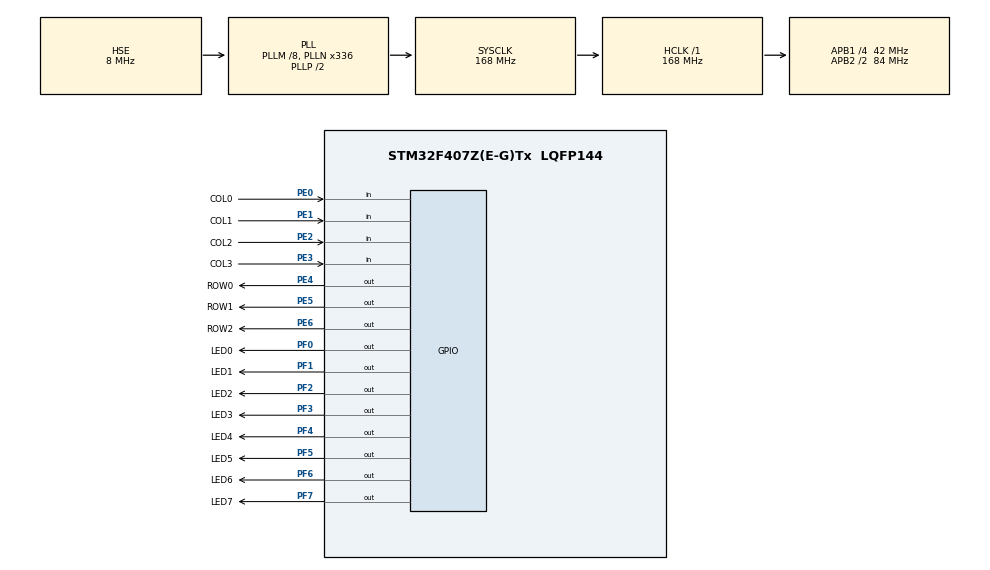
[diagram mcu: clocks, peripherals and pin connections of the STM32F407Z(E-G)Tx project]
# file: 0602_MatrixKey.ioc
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Mcu.Family=STM32F4
Mcu.Name=STM32F407Z(E-G)Tx
Mcu.Package=LQFP144
NVIC.PriorityGroup=NVIC_PRIORITYGROUP_4
PA13.Mode=Serial_Wire
PA13.Signal=SYS_JTMS-SWDIO
PA14.Mode=Serial_Wire
PA14.Signal=SYS_JTCK-SWCLK
PE0.GPIO_Label=COL0
PE0.GPIO_PuPd=GPIO_PULLUP
PE0.Signal=GPIO_Input
PE1.GPIO_Label=COL1
PE1.GPIO_PuPd=GPIO_PULLUP
PE1.Signal=GPIO_Input
PE2.GPIO_Label=COL2
PE2.GPIO_PuPd=GPIO_PULLUP
PE2.Signal=GPIO_Input
PE3.GPIO_Label=COL3
PE3.GPIO_PuPd=GPIO_PULLUP
PE3.Signal=GPIO_Input
PE4.GPIO_Label=ROW0
PE4.PinState=GPIO_PIN_SET
PE4.Signal=GPIO_Output
PE5.GPIO_Label=ROW1
PE5.PinState=GPIO_PIN_SET
PE5.Signal=GPIO_Output
PE6.GPIO_Label=ROW2
PE6.PinState=GPIO_PIN_SET
PE6.Signal=GPIO_Output
PF0.GPIO_Label=LED0
PF0.PinState=GPIO_PIN_SET
PF0.Signal=GPIO_Output
PF1.GPIO_Label=LED1
PF1.PinState=GPIO_PIN_SET
PF1.Signal=GPIO_Output
PF2.GPIO_Label=LED2
PF2.PinState=GPIO_PIN_SET
PF2.Signal=GPIO_Output
PF3.GPIO_Label=LED3
PF3.PinState=GPIO_PIN_SET
PF3.Signal=GPIO_Output
PF4.GPIO_Label=LED4
PF4.PinState=GPIO_PIN_SET
PF4.Signal=GPIO_Output
PF5.GPIO_Label=LED5
PF5.PinState=GPIO_PIN_SET
PF5.Signal=GPIO_Output
PF6.GPIO_Label=LED6
PF6.PinState=GPIO_PIN_SET
PF6.Signal=GPIO_Output
PF7.GPIO_Label=LED7
PF7.PinState=GPIO_PIN_SET
PF7.Signal=GPIO_Output
PH0-OSC_IN.Mode=HSE-External-Oscillator
PH0-OSC_IN.Signal=RCC_OSC_IN
PH1-OSC_OUT.Mode=HSE-External-Oscillator
PH1-OSC_OUT.Signal=RCC_OSC_OUT
ProjectManager.HeapSize=0x200
ProjectManager.StackSize=0x400
ProjectManager.TargetToolchain=STM32CubeIDE
RCC.48MHZClocksFreq_Value=84000000
RCC.AHBFreq_Value=168000000
RCC.APB1CLKDivider=RCC_HCLK_DIV4
RCC.APB1Freq_Value=42000000
RCC.APB1TimFreq_Value=84000000
RCC.APB2CLKDivider=RCC_HCLK_DIV2
RCC.APB2Freq_Value=84000000
RCC.APB2TimFreq_Value=168000000
RCC.CortexFreq_Value=168000000
RCC.HCLKFreq_Value=168000000
RCC.HSE_VALUE=8000000
RCC.HSI_VALUE=16000000
RCC.LSE_VALUE=32768
RCC.PLLM=4
RCC.PLLN=168
RCC.PLLSourceVirtual=RCC_PLLSOURCE_HSE
RCC.SYSCLKFreq_VALUE=168000000
RCC.SYSCLKSource=RCC_SYSCLKSOURCE_PLLCLK
RCC.VCOOutputFreq_Value=336000000
board=custom

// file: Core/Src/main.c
#include "main.h"

/* USER CODE BEGIN PV */
//行扫描：PE4 PE5 PE6 行；PE0 PE1 PE2 PE3 列，上拉输入
uint8_t Key_Scan(void)
{
	uint8_t keyval = 0xFF;
	//第0行 PE4拉低
	HAL_GPIO_WritePin(GPIOE, GPIO_PIN_4, GPIO_PIN_RESET);
	HAL_Delay(5);
	if(HAL_GPIO_ReadPin(GPIOE, GPIO_PIN_0)==0) {keyval = 1;}
	if(HAL_GPIO_ReadPin(GPIOE, GPIO_PIN_1)==0) {keyval = 2;}
	if(HAL_GPIO_ReadPin(GPIOE, GPIO_PIN_2)==0) {keyval = 3;}
	if(HAL_GPIO_ReadPin(GPIOE, GPIO_PIN_3)==0) {keyval = 4;}
	HAL_GPIO_WritePin(GPIOE, GPIO_PIN_4, GPIO_PIN_SET);
	if(keyval != 0xFF) return keyval;

	//第1行 PE5拉低
	HAL_GPIO_WritePin(GPIOE, GPIO_PIN_5, GPIO_PIN_RESET);
	HAL_Delay(5);
	if(HAL_GPIO_ReadPin(GPIOE, GPIO_PIN_0)==0) {keyval = 5;}
	if(HAL_GPIO_ReadPin(GPIOE, GPIO_PIN_1)==0) {keyval = 6;}
	if(HAL_GPIO_ReadPin(GPIOE, GPIO_PIN_2)==0) {keyval = 7;}
	if(HAL_GPIO_ReadPin(GPIOE, GPIO_PIN_3)==0) {keyval = 8;}
	HAL_GPIO_WritePin(GPIOE, GPIO_PIN_5, GPIO_PIN_SET);
	if(keyval != 0xFF) return keyval;

	//第2行 PE6拉低
	HAL_GPIO_WritePin(GPIOE, GPIO_PIN_6, GPIO_PIN_RESET);
	HAL_Delay(5);
	if(HAL_GPIO_ReadPin(GPIOE, GPIO_PIN_0)==0) {keyval = 9;}
	if(HAL_GPIO_ReadPin(GPIOE, GPIO_PIN_1)==0) {keyval = 10;}
	if(HAL_GPIO_ReadPin(GPIOE, GPIO_PIN_2)==0) {keyval = 11;}
	if(HAL_GPIO_ReadPin(GPIOE, GPIO_PIN_3)==0) {keyval = 12;}
	HAL_GPIO_WritePin(GPIOE, GPIO_PIN_6, GPIO_PIN_SET);
	return keyval;
}
/* USER CODE END PV */

void SystemClock_Config(void);
static void MX_GPIO_Init(void);

int main(void)
{
  /* USER CODE BEGIN 1 */
	uint8_t keyval;
	uint8_t bcd_high,bcd_low;
  /* USER CODE END 1 */

  /* MCU Configuration--------------------------------------------------------*/

  /* Reset of all peripherals, Initializes the Flash interface and the Systick. */
  HAL_Init();

  /* Configure the system clock */
  SystemClock_Config();

  /* Initialize all configured peripherals */
  MX_GPIO_Init();

  /* Infinite loop */
  /* USER CODE BEGIN WHILE */
  while (1)
  {
    keyval = Key_Scan();
    if(keyval != 0xFF)
    {
      bcd_low = keyval % 10;
      bcd_high = keyval / 10;
      //取反！！共阳极：bit为1 →输出低电平 点亮LED
      HAL_GPIO_WritePin(GPIOF, GPIO_PIN_0, (bcd_low & (1<<0)) ? GPIO_PIN_RESET : GPIO_PIN_SET);
      HAL_GPIO_WritePin(GPIOF, GPIO_PIN_1, (bcd_low & (1<<1)) ? GPIO_PIN_RESET : GPIO_PIN_SET);
      HAL_GPIO_WritePin(GPIOF, GPIO_PIN_2, (bcd_low & (1<<2)) ? GPIO_PIN_RESET : GPIO_PIN_SET);
      HAL_GPIO_WritePin(GPIOF, GPIO_PIN_3, (bcd_low & (1<<3)) ? GPIO_PIN_RESET : GPIO_PIN_SET);

      HAL_GPIO_WritePin(GPIOF, GPIO_PIN_4, (bcd_high & (1<<0)) ? GPIO_PIN_RESET : GPIO_PIN_SET);
      HAL_GPIO_WritePin(GPIOF, GPIO_PIN_5, (bcd_high & (1<<1)) ? GPIO_PIN_RESET : GPIO_PIN_SET);
      HAL_GPIO_WritePin(GPIOF, GPIO_PIN_6, (bcd_high & (1<<2)) ? GPIO_PIN_RESET : GPIO_PIN_SET);
      HAL_GPIO_WritePin(GPIOF, GPIO_PIN_7, (bcd_high & (1<<3)) ? GPIO_PIN_RESET : GPIO_PIN_SET);
    }
    else
    {
      //无按键，全部熄灭（PF输出高）
      HAL_GPIO_WritePin(GPIOF, GPIO_PIN_0, GPIO_PIN_SET);
      HAL_GPIO_WritePin(GPIOF, GPIO_PIN_1, GPIO_PIN_SET);
      HAL_GPIO_WritePin(GPIOF, GPIO_PIN_2, GPIO_PIN_SET);
      HAL_GPIO_WritePin(GPIOF, GPIO_PIN_3, GPIO_PIN_SET);
      HAL_GPIO_WritePin(GPIOF, GPIO_PIN_4, GPIO_PIN_SET);
      HAL_GPIO_WritePin(GPIOF, GPIO_PIN_5, GPIO_PIN_SET);
      HAL_GPIO_WritePin(GPIOF, GPIO_PIN_6, GPIO_PIN_SET);
      HAL_GPIO_WritePin(GPIOF, GPIO_PIN_7, GPIO_PIN_SET);
    }
    HAL_Delay(20);
    /* USER CODE END WHILE */

  }
}

void SystemClock_Config(void)
{
  RCC_OscInitTypeDef RCC_OscInitStruct = {0};
  RCC_ClkInitTypeDef RCC_ClkInitStruct = {0};

  /** Configure the main internal regulator output voltage
  */
  __HAL_RCC_PWR_CLK_ENABLE();
  __HAL_PWR_VOLTAGESCALING_CONFIG(PWR_REGULATOR_VOLTAGE_SCALE1);

  /** Initializes the RCC Oscillators according to the specified parameters
  * in the RCC_OscInitTypeDef structure.
  */
  RCC_OscInitStruct.OscillatorType = RCC_OSCILLATORTYPE_HSE;
  RCC_OscInitStruct.HSEState = RCC_HSE_ON;
  RCC_OscInitStruct.PLL.PLLState = RCC_PLL_ON;
  RCC_OscInitStruct.PLL.PLLSource = RCC_PLLSOURCE_HSE;
  RCC_OscInitStruct.PLL.PLLM = 8;
  RCC_OscInitStruct.PLL.PLLN = 336;
  RCC_OscInitStruct.PLL.PLLP = RCC_PLLP_DIV2;
  RCC_OscInitStruct.PLL.PLLQ = 7;
  if (HAL_RCC_OscConfig(&RCC_OscInitStruct) != HAL_OK)
  {
    Error_Handler();
  }

  /** Initializes the CPU, AHB and APB buses clocks
  */
  RCC_ClkInitStruct.ClockType = RCC_CLOCKTYPE_HCLK|RCC_CLOCKTYPE_SYSCLK
                              |RCC_CLOCKTYPE_PCLK1|RCC_CLOCKTYPE_PCLK2;
  RCC_ClkInitStruct.SYSCLKSource = RCC_SYSCLKSOURCE_PLLCLK;
  RCC_ClkInitStruct.AHBCLKDivider = RCC_SYSCLK_DIV1;
  RCC_ClkInitStruct.APB1CLKDivider = RCC_HCLK_DIV4;
  RCC_ClkInitStruct.APB2CLKDivider = RCC_HCLK_DIV2;

  if (HAL_RCC_ClockConfig(&RCC_ClkInitStruct, FLASH_LATENCY_5) != HAL_OK)
  {
    Error_Handler();
  }
}

static void MX_GPIO_Init(void)
{
  GPIO_InitTypeDef GPIO_InitStruct = {0};

  /* GPIO Ports Clock Enable */
  __HAL_RCC_GPIOH_CLK_ENABLE();
  __HAL_RCC_GPIOE_CLK_ENABLE();
  __HAL_RCC_GPIOF_CLK_ENABLE();

  /*Configure GPIO pin Output Level */
  HAL_GPIO_WritePin(GPIOE, GPIO_PIN_4|GPIO_PIN_5|GPIO_PIN_6, GPIO_PIN_SET);

  /*Configure GPIO pin Output Level */
  HAL_GPIO_WritePin(GPIOF, GPIO_PIN_0|GPIO_PIN_1|GPIO_PIN_2|GPIO_PIN_3
                          |GPIO_PIN_4|GPIO_PIN_5|GPIO_PIN_6|GPIO_PIN_7, GPIO_PIN_SET);

  /*Configure GPIO pins : PE0 PE1 PE2 PE3 */
  GPIO_InitStruct.Pin = GPIO_PIN_0|GPIO_PIN_1|GPIO_PIN_2|GPIO_PIN_3;
  GPIO_InitStruct.Mode = GPIO_MODE_INPUT;
  GPIO_InitStruct.Pull = GPIO_PULLUP;
  HAL_GPIO_Init(GPIOE, &GPIO_InitStruct);

  /*Configure GPIO pins : PE4 PE5 PE6 */
  GPIO_InitStruct.Pin = GPIO_PIN_4|GPIO_PIN_5|GPIO_PIN_6;
  GPIO_InitStruct.Mode = GPIO_MODE_OUTPUT_PP;
  GPIO_InitStruct.Speed = GPIO_SPEED_FREQ_LOW;
  HAL_GPIO_Init(GPIOE, &GPIO_InitStruct);

  /*Configure GPIO pins : PF0 PF1 PF2 PF3
                           PF4 PF5 PF6 PF7 */
  GPIO_InitStruct.Pin = GPIO_PIN_0|GPIO_PIN_1|GPIO_PIN_2|GPIO_PIN_3
                          |GPIO_PIN_4|GPIO_PIN_5|GPIO_PIN_6|GPIO_PIN_7;
  GPIO_InitStruct.Mode = GPIO_MODE_OUTPUT_PP;
  GPIO_InitStruct.Speed = GPIO_SPEED_FREQ_LOW;
  HAL_GPIO_Init(GPIOF, &GPIO_InitStruct);

}

void Error_Handler(void)
{
  __disable_irq();
  while (1)
  {
  }
}
